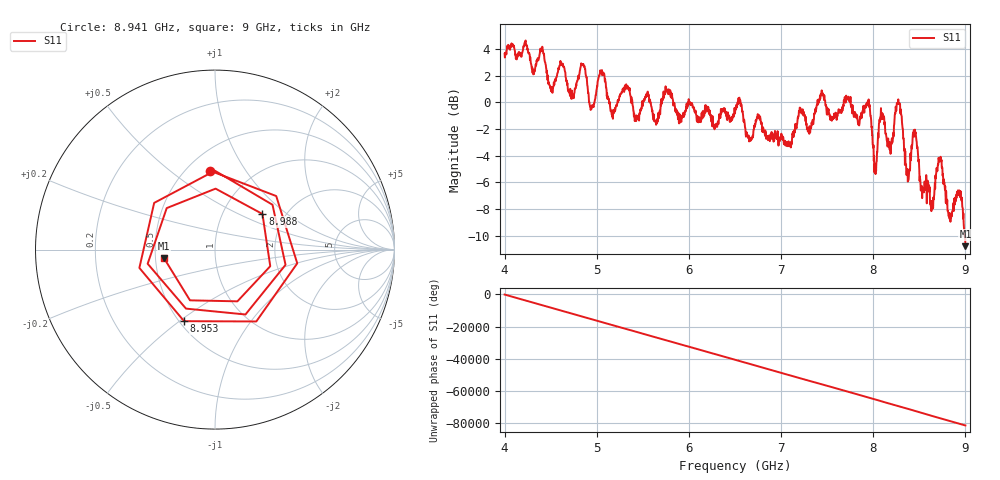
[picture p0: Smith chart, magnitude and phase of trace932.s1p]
! Created with skrf 1.8.0 (http://scikit-rf.org).
# Hz S RI R 50.0
!freq ReS11 ImS11
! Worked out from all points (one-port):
!   1601 points, 4 GHz to 9 GHz, reference 50 ohm
!   lowest |S11| = -10.8 dB at 9 GHz (marker M1), VSWR 1.81, Z = 27.7 - j2.82 ohm
!   |S11| at or under -10 dB: 8.993145 GHz to end of sweep
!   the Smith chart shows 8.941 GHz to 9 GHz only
!   S11 on the Smith chart (normalised r, x): 8.941 GHz: 0.64, +0.70; 8.953 GHz: 0.53, -0.52; 8.988 GHz: 1.53, +0.68; 9 GHz: 0.55, -0.06
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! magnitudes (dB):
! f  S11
! 4 GHz  3.7
! 4.406 GHz  4.1
! 4.506 GHz  0.8
! 4.625 GHz  2.9
! 4.731 GHz  0.9
! 4.853 GHz  2.9
! 4.941 GHz  -0.5
! 5.053 GHz  2.3
! 5.169 GHz  -1.1
! 5.25 GHz  0.5
! 5.875 GHz  -1.0
! 6.5 GHz  -0.8
! 7.125 GHz  -2.4
! 7.75 GHz  0.0
! 7.947 GHz  0.0
! 8.022 GHz  -5.1
! 8.084 GHz  -0.4
! 8.191 GHz  -3.4
! 8.278 GHz  -0.1
! 8.375 GHz  -5.9
! 8.447 GHz  -2.4
! 8.634 GHz  -7.4
! 8.725 GHz  -4.4
! 8.831 GHz  -8.7
! 8.941 GHz  -7.1
! 8.953 GHz  -7.2
! 8.988 GHz  -9.6
! 9 GHz  -10.8
